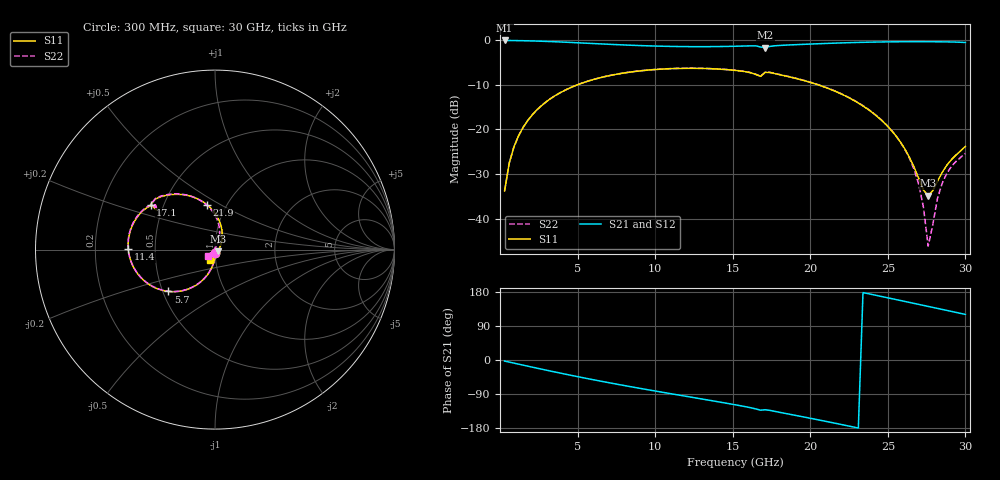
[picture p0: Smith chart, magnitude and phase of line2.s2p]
! Created Thu Feb 13 09:01:06 2025
! List of port names and net name(s): example Port n = <port_name> <net_name1> <net_name2> ...
! Port 1 = P1 N__11 P2 N__10
! Port 2 = P4 N__11 N__10 P2
# hz S ma R 50
! 2 Port Network Data from data block
! freq  magS11  angS11  magS21  angS21  magS12  angS12  magS22  angS22
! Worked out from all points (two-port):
!   100 points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, 300 MHz to 30 GHz, reference 50 ohm
!   highest |S21| = -0.03 dB at 300 MHz (marker M1); lowest = -1.6 dB at 17.1 GHz (marker M2)
!   |S21| within 3 dB of the highest: start of sweep to end of sweep
!   lowest |S11| = -34.8 dB at 27.6 GHz (marker M3), VSWR 1.04, Z = 51.5 - j1.02 ohm
!   |S11| at or under -10 dB: start of sweep to 4.984 GHz; 20.51 GHz to end of sweep
!   |S22| runs from -46.2 to -6.3 dB; largest |S21 - S12| = 0
!   S11 on the Smith chart (normalised r, x): 300 MHz: 1.00, -0.04; 5.7 GHz: 0.53, -0.28; 11.4 GHz: 0.35, +0.00; 17.1 GHz: 0.42, +0.26; 21.9 GHz: 0.81, +0.43; 30 GHz: 0.94, -0.11
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3e8  0.0205 -82.8  0.9962 -2.8  0.9962 -2.8  0.02051 -82.8
6e8  0.0421 -89.6  0.9948 -5.5  0.9948 -5.5  0.04212 -89.7
9e8  0.06361 -94.0  0.9932 -8.2  0.9932 -8.2  0.06365 -94.0
1.8e9  0.1267 -103.9  0.9863 -16.3  0.9863 -16.3  0.1268 -104.0
3.3e9  0.224 -117.9  0.9674 -29.5  0.9674 -29.5  0.2242 -118.1
5.4e9  0.3361 -135.7  0.9313 -47.1  0.9313 -47.1  0.3365 -136.1
5.7e9  0.3495 -138.2  0.9259 -49.5  0.9259 -49.5  0.3499 -138.5
1.02e10  0.4726 -171.9  0.8604 -83.2  0.8604 -83.2  0.4736 -172.5
1.14e10  0.483 179.6  0.8522 -91.6  0.8522 -91.6  0.4841 179.0
1.53e10  0.4571 152.0  0.8589 -119.2  0.8589 -119.2  0.4586 151.3
1.68e10  0.3943 145.8  0.8407 -132.4  0.8407 -132.4  0.3951 145.2
1.71e10  0.4377 145.1  0.8274 -131.3  0.8274 -131.3  0.4388 144.5
2.01e10  0.3335 115.9  0.9092 -154.5  0.9092 -154.5  0.3352 116.0
2.19e10  0.2547 100.2  0.9336 -169.4  0.9336 -169.4  0.2563 101.3
2.52e10  0.09898 66.0  0.9615 162.3  0.9615 162.3  0.09948 74.7
2.67e10  0.03758 35.4  0.9648 149.3  0.9648 149.3  0.03534 66.7
2.73e10  0.02084 -0.8  0.9647 144.0  0.9647 144.0  0.01333 73.9
2.76e10  0.0181 -33.1  0.9643 141.4  0.9643 141.4  0.004907 115.0
2.82e10  0.02624 -83.3  0.9628 136.2  0.9628 136.2  0.01685 -146.7
2.85e10  0.03284 -95.1  0.9616 133.5  0.9616 133.5  0.02477 -143.5
2.91e10  0.04595 -108.0  0.958 128.2  0.958 128.2  0.03845 -142.8
3e10  0.06452 -113.0  0.9447 120.3  0.9447 120.3  0.05394 -138.0
